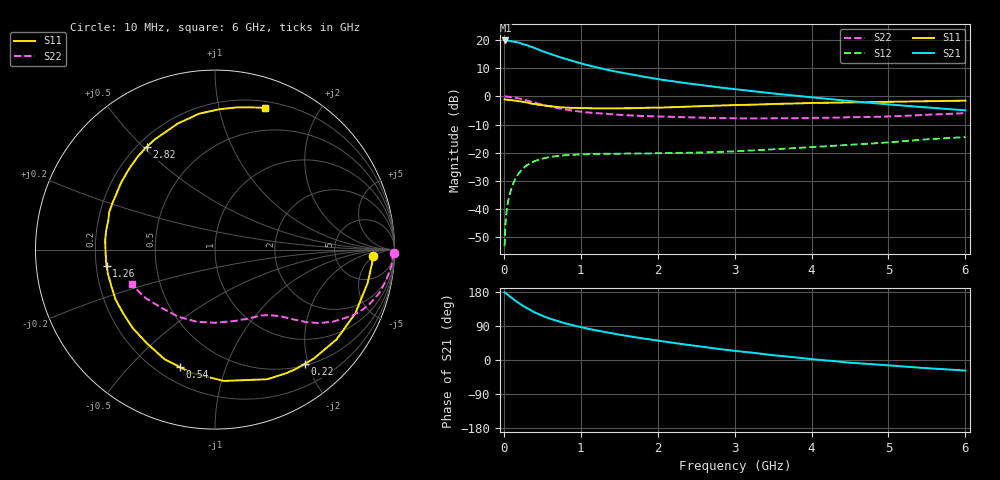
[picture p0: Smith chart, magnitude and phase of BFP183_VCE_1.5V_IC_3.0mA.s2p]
! Infineon Technologies  Discrete & RF Semiconductors
! BFP183
! VCE = 1.5 V,  IC =  3.0 mA
! Common Emitter S-Parameters:  Jan 2016
# GHz  S  MA  R  50
!  f  S11  S21  S12  S22
! GHz  MAG  ANG  MAG  ANG  MAG  ANG  MAG  ANG
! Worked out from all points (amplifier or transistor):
!   210 points, 10 MHz to 6 GHz, reference 50 ohm
!   highest |S21| = 19.8 dB at 20 MHz (marker M1)
!   |S21| within 3 dB of that: start of sweep to 429.3 MHz
!   unconditionally stable (mu >= 1): 1.822 GHz to 5.965 GHz
!   at 185 MHz: K = 0.12, MSG = 23.4 dB, |S12| = -27.7 dB
!   at 1.52 GHz: K = 0.86, MSG = 14.4 dB, |S12| = -20.3 dB
!   at 6 GHz: K = 0.99, MSG = 4.7 dB, |S12| = -14.5 dB
!   S11 on the Smith chart (normalised r, x): 10 MHz: 14, -5; 220 MHz: 0.53, -1.94; 540 MHz: 0.29, -0.71; 1.26 GHz: 0.24, -0.07; 2.82 GHz: 0.24, +0.51; 6 GHz: 0.26, +1.38
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0.01  0.8801 -2.4  9.697 178.7  0.0022 81.4  0.9965 -1.0
0.02  0.8784 -5.0  9.792 177.4  0.005 84.4  0.9911 -2.1
0.05  0.8703 -12.3  9.789 172.0  0.0125 86.1  0.9874 -5.1
0.15  0.8422 -36.4  9.263 156.5  0.0345 69.6  0.9465 -14.9
0.2  0.8195 -47.9  8.931 149.2  0.0442 65.2  0.9153 -19.1
0.22  0.8092 -51.9  8.713 146.7  0.0475 62.5  0.9013 -20.6
0.3  0.7787 -68.1  8.076 136.9  0.0602 54.7  0.8437 -26.0
0.4  0.7332 -86.2  7.204 125.5  0.0708 46.5  0.7708 -31.4
0.5  0.6986 -101.3  6.33 116.6  0.0785 39.8  0.7078 -35.3
0.54  0.6836 -106.5  6.061 113.8  0.0807 37.8  0.6881 -36.3
0.6  0.6723 -114.7  5.689 109.1  0.0842 35.1  0.6589 -38.0
0.72  0.6415 -128.0  4.983 101.4  0.0884 30.7  0.6099 -40.3
0.9  0.6231 -145.0  4.21 91.5  0.0922 25.9  0.5547 -43.3
1.02  0.6177 -154.9  3.768 85.8  0.0931 23.2  0.5292 -44.9
1.26  0.6103 -171.4  3.13 76.0  0.0957 19.9  0.4955 -47.9
1.56  0.6146 171.9  2.584 65.0  0.0962 18.1  0.4657 -51.7
2.02  0.6307 150.9  2 50.5  0.0977 17.7  0.4388 -58.6
2.82  0.687 123.7  1.428 28.5  0.1034 20.2  0.4127 -74.3
3.1  0.7036 116.1  1.293 22.1  0.1075 21.6  0.4062 -80.9
4.1  0.765 95.0  0.932 0.5  0.1279 23.3  0.4149 -107.1
5.1  0.8035 80.3  0.7 -15.6  0.1562 22.8  0.4445 -134.9
6  0.8381 70.4  0.564 -28.0  0.1891 16.9  0.5039 -157.4
